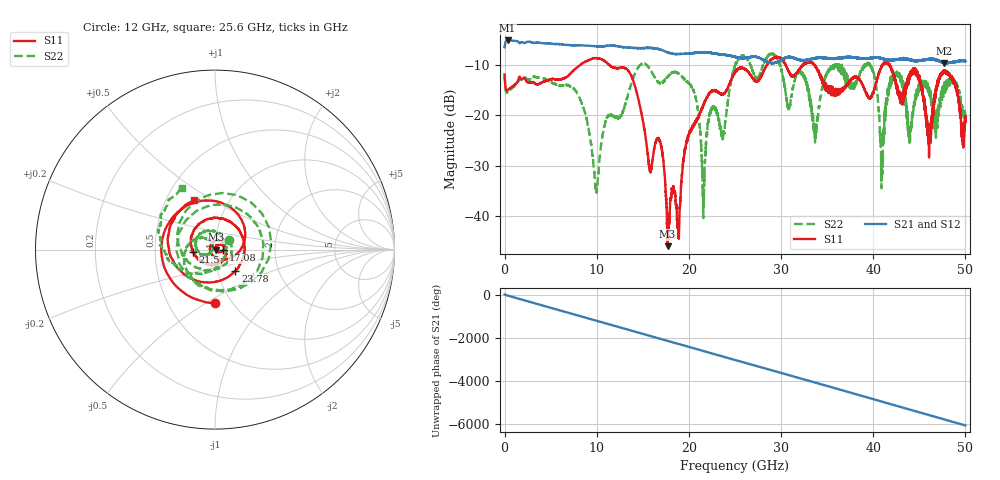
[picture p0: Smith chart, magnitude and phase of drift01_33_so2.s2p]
!Created with skrf (http://scikit-rf.org).
# Hz S RI R 50.0
!freq ReS11 ImS11 ReS21 ImS21 ReS12 ImS12 ReS22 ImS22
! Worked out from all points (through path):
!   10001 points, 300 kHz to 50 GHz, reference 50 ohm
!   highest |S21| = -5.05 dB at 325.3 MHz (marker M1); lowest = -9.6 dB at 47.71 GHz (marker M2)
!   group delay of S21, straight-line fit = 336 ps
!   lowest |S11| = -46.1 dB at 17.69 GHz (marker M3), VSWR 1.01, Z = 50.5 - j0.0858 ohm
!   |S11| at or under -10 dB: start of sweep to 8.152 GHz; 11.4 GHz to 28.43 GHz (17.03 GHz wide, 85.5 % of centre); 41.8 GHz to end of sweep (the widest 3 of 9)
!   |S22| runs from -40.5 to -7.6 dB; largest |S21 - S12| = 0.014
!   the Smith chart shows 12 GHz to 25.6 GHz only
!   S11 on the Smith chart (normalised r, x): 12 GHz: 0.84, -0.55; 17.08 GHz: 1.09, -0.01; 21.5 GHz: 0.78, -0.02; 23.78 GHz: 1.22, -0.30; 25.6 GHz: 0.69, +0.42
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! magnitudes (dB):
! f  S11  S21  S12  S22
! 300 kHz  -11.8  -6.4  -6.5  -11.8
! 325.3 MHz  -14.9  -5.1  -5.0  -15.4
! 8.335 GHz  -9.8  -6.0  -6.0  -17.5
! 9.935 GHz  -8.6  -6.2  -6.2  -34.4
! 12 GHz  -10.5  -6.1  -6.1  -20.5
! 15.78 GHz  -31.2  -6.5  -6.5  -10.8
! 16.67 GHz  -24.5  -6.8  -6.7  -13.4
! 17.08 GHz  -27.1  -7.0  -7.0  -13.4
! 17.69 GHz  -46.1  -7.4  -7.4  -12.3
! 20.5 GHz  -22.0  -7.6  -7.6  -15.0
! 21.5 GHz  -18.2  -7.4  -7.4  -33.8
! 22.45 GHz  -15.2  -7.6  -7.5  -18.9
! 23.78 GHz  -15.6  -7.9  -7.9  -23.2
! 25 GHz  -11.4  -8.3  -8.4  -10.2
! 25.6 GHz  -10.6  -8.5  -8.5  -8.2
! 33.34 GHz  -9.5  -8.7  -8.7  -19.7
! 39.49 GHz  -16.5  -8.6  -8.6  -9.9
! 40.95 GHz  -10.1  -8.7  -8.6  -27.8
! 41.67 GHz  -9.8  -8.9  -9.0  -15.2
! 46.09 GHz  -25.6  -8.8  -8.8  -15.0
! 47.71 GHz  -11.4  -9.6  -9.6  -13.5
! 50 GHz  -21.2  -9.2  -9.2  -20.1
